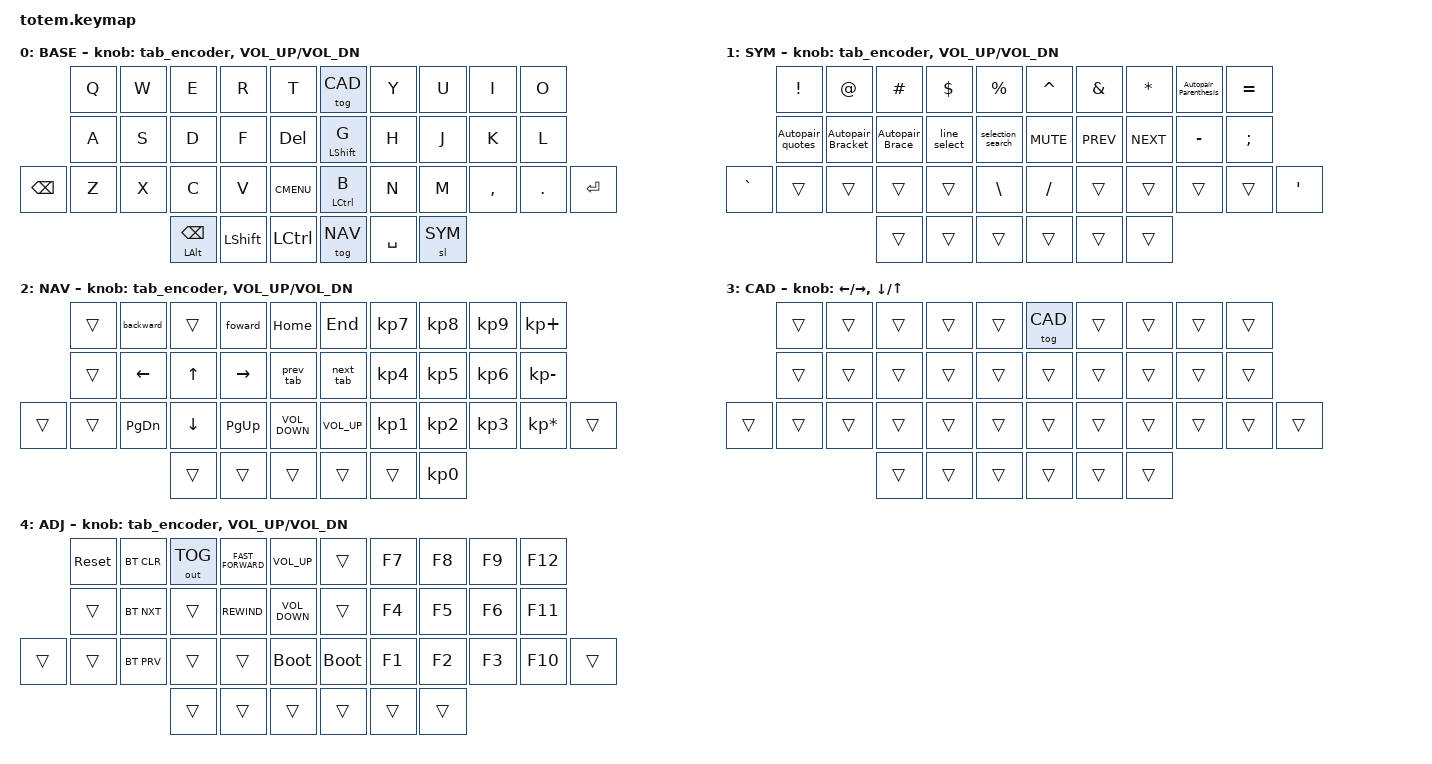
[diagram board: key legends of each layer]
//
//                                                        ▀▀▀▀▀     ▀▀▀▀▀          ▀▀█▀▀
//                                                        ▄▀▀▀▄  ▄  ▄▀▀▀▄  ▄  ▄▀▀▀▄  █  ▄▀▀▀▄
//                                                        █   █  █  █   █  █  █   █  █  █   █
//                                                         ▀▀▀   █   ▀▀▀   █   ▀▀▀   ▀   ▀▀▀
//                                                               █      ▄▄▄█▄▄▄    █   █  
//                                                               ▀      █  █  █     █▄█
//                                                             ▀▀▀▀▀    █  █  █      ▀
//                                                                      ▀  ▀  ▀
//
// ▄▄▄▄▄▄▄▄▄▄▄▄▄▄▄▄▄▄▄▄▄▄▄▄▄▄▄▄▄▄▄▄▄▄▄▄▄▄▄▄▄▄▄▄▄▄▄▄▄▄▄▄▄▄▄▄▄▄▄▄▄▄▄▄▄▄▄▄▄▄▄▄▄▄▄▄▄▄▄▄▄▄▄▄▄▄▄▄▄▄▄▄▄▄▄▄▄▄▄▄▄▄▄▄▄▄▄▄▄▄▄▄▄▄▄▄▄▄▄▄▄▄▄▄▄▄▄▄▄▄▄▄▄▄▄▄▄▄▄▄▄▄▄▄▄▄▄▄▄

#include <behaviors.dtsi>
#include <dt-bindings/zmk/bt.h>
#include <dt-bindings/zmk/keys.h>
#include <dt-bindings/zmk/outputs.h>

#define BASE 0
#define SYM  1
#define NAV  2
#define CAD  3
#define ADJ  4

&mt {
    quick-tap-ms = <100>;
    global-quick-tap;
    flavor = "tap-preferred";
    tapping-term-ms = <170>;
};

/ {
    combos {
        compatible = "zmk,combos";

        combo_esc {
            timeout-ms = <50>;
            key-positions = <0 1>;
            bindings = <&kp ESC>;
        };

        combo_Rgui {
            bindings = <&kp LEFT_GUI>;
            key-positions = <9 8>;
            timeout-ms = <50>;
        };

        combo_Larrow {
            bindings = <&kp LEFT_ARROW>;
            key-positions = <16 15>;
            timeout-ms = <50>;
        };

        combo_Rarrow {
            bindings = <&kp RIGHT_ARROW>;
            key-positions = <16 17>;
            timeout-ms = <50>;
        };

        combo_Tab {
            bindings = <&kp TAB>;
            key-positions = <10 21>;
            timeout-ms = <50>;
        };

        combo_Uparrow {
            bindings = <&kp UP_ARROW>;
            key-positions = <6 7>;
            timeout-ms = <50>;
        };

        combo_p {
            bindings = <&kp P>;
            key-positions = <30 19>;
            timeout-ms = <50>;
        };

        como_Downarrow {
            bindings = <&kp DOWN_ARROW>;
            key-positions = <27 28>;
            timeout-ms = <50>;
        };

        combo_Shyr1 {
            bindings = <&tog ADJ>;
            key-positions = <4 5>;
            timeout-ms = <50>;
        };

        combo_playpause {
            bindings = <&kp C_PLAY_PAUSE>;
            key-positions = <37 27>;
            timeout-ms = <50>;
        };

        combo_prtscrn {
            bindings = <&kp PRINTSCREEN>;
            key-positions = <37 5>;
            timeout-ms = <50>;
        };

        combo_winprtscrn {
            bindings = <&kp LG(PRINTSCREEN)>;
            key-positions = <37 5 6>;
            timeout-ms = <50>;
        };

        combo_questionmark {
            bindings = <&kp QUESTION>;
            key-positions = <33 19 30>;
        };

        combo_Lgui {
            bindings = <&sk LEFT_WIN>;
            key-positions = <20 10>;
            timeout-ms = <50>;
        };
    };

    macros {
        Autopair_quotes: Autopair_Quotes {
            compatible = "zmk,behavior-macro";
            #binding-cells = <0>;
            bindings = <&macro_tap>, <&kp DQT &kp DQT &kp LEFT_ARROW>;

            label = "AUTOPAIR_QUOTES";
        };

        selection_search: selection_search {
            compatible = "zmk,behavior-macro";
            #binding-cells = <0>;
            bindings =
                <&macro_tap>,
                <&kp LS(F10)>,
                <&macro_wait_time 20>,
                <&kp S>;

            label = "SELECTION_SEARCH";
        };

        line_select: line_select {
            compatible = "zmk,behavior-macro";
            #binding-cells = <0>;
            bindings = <&macro_tap>, <&kp HOME &kp LS(END)>;

            label = "LINE_SELECT";
        };

        Autopair_Bracket: Autopair_Brackets {
            compatible = "zmk,behavior-macro";
            #binding-cells = <0>;
            bindings =
                <&macro_tap>,
                <&kp LEFT_BRACKET &kp RIGHT_BRACKET &kp LEFT_ARROW>;

            label = "AUTOPAIR_BRACKETS";
        };

        Autopair_Brace: Auotpair_Brace {
            compatible = "zmk,behavior-macro";
            #binding-cells = <0>;
            bindings =
                <&macro_tap>,
                <&kp LEFT_BRACE &kp RIGHT_BRACE &kp LEFT_ARROW>;

            label = "AUOTPAIR_BRACE";
        };

        Autopair_Parenthesis: Autopair_Parenthesis {
            compatible = "zmk,behavior-macro";
            #binding-cells = <0>;
            bindings =
                <&macro_tap>,
                <&kp LEFT_PARENTHESIS &kp RIGHT_PARENTHESIS &kp LEFT_ARROW>;

            label = "AUTOPAIR_PARENTHESIS";
        };

        foward: new_macro {
            compatible = "zmk,behavior-macro";
            #binding-cells = <0>;
            bindings = <&macro_tap>, <&kp LA(RIGHT_ARROW)>;

            label = "NEW_MACRO";
        };

        backward: backward {
            compatible = "zmk,behavior-macro";
            #binding-cells = <0>;
            bindings = <&macro_tap>, <&kp LA(LEFT_ARROW)>;

            label = "BACKWARD";
        };

        next_tab: next_tab {
            compatible = "zmk,behavior-macro";
            #binding-cells = <0>;
            bindings = <&macro_tap>, <&kp LC(TAB)>;

            label = "NEXT_TAB";
        };

        prev_tab: prev_tab {
            compatible = "zmk,behavior-macro";
            #binding-cells = <0>;
            bindings = <&macro_tap>, <&kp LC(LS(TAB))>;

            label = "PREV_TAB";
        };

        new_tab: new_tab {
            compatible = "zmk,behavior-macro";
            #binding-cells = <0>;
            bindings = <&macro_tap>, <&kp LC(T)>;

            label = "NEW_TAB";
        };

        close_tab: close_tab {
            compatible = "zmk,behavior-macro";
            #binding-cells = <0>;
            bindings = <&macro_tap>, <&kp LC(W)>;

            label = "CLOSE_TAB";
        };

        reopen_tab: reopen_tab {
            compatible = "zmk,behavior-macro";
            #binding-cells = <0>;
            bindings = <&macro_tap>, <&kp LC(LS(T))>;

            label = "REOPEN_TAB";
        };
    };

    behaviors {
        tab_encoder: tab_encoder {
            compatible = "zmk,behavior-sensor-rotate";
            #sensor-binding-cells = <0>;

            /* The left EC11's tested electrical direction is reversed. */
            bindings = <&prev_tab>, <&next_tab>;
        };
    };

    keymap {
        compatible = "zmk,keymap";

        // ▄▄▄▄▄▄▄▄▄▄▄▄▄▄▄▄▄▄▄▄▄▄▄▄▄▄▄▄▄▄▄▄▄▄▄▄▄▄▄▄▄▄▄▄▄▄▄▄▄▄▄▄▄▄▄▄▄▄▄▄▄▄▄▄▄▄▄▄▄▄▄▄▄▄▄▄▄▄▄▄▄▄▄▄▄▄▄▄▄▄▄▄▄▄▄▄▄▄▄▄▄▄▄▄▄▄▄▄▄▄▄▄▄▄▄▄▄▄▄▄▄▄▄▄▄▄▄▄▄▄▄▄▄▄▄▄▄▄▄▄▄▄▄▄▄▄▄▄▄

        base_layer {
            // ┏━━━━━━━━━━━━━━━━━━━━━━━━━━━━━━━━━━━━━━━┓

            label = "BASE";

            // ┗━━━━━━━━━━━━━━━━━━━━━━━━━━━━━━━━━━━━━━━┛
            //             ┏━━━━━━━━━━━┳━━━━━━━━━━━┳━━━━━━━━━━━┳━━━━━━━━━━━┳━━━━━━━━━━━┓   ┏━━━━━━━━━━━┳━━━━━━━━━━━┳━━━━━━━━━━━┳━━━━━━━━━━━┳━━━━━━━━━━━┓
            //             ┃     Q     ┃     W     ┃     F     ┃     P     ┃     G     ┃   ┃     J     ┃     L     ┃     U     ┃     Y     ┃     ;     ┃
            //             ┣━━━━━━━━━━━╋━━━━━━━━━━━╋━━━━━━━━━━━╋━━━━━━━━━━━╋━━━━━━━━━━━┫   ┣━━━━━━━━━━━╋━━━━━━━━━━━╋━━━━━━━━━━━╋━━━━━━━━━━━╋━━━━━━━━━━━┫
            //             ┃     A     ┃     R     ┃     S     ┃     T     ┃     D     ┃   ┃     H     ┃     N     ┃     E     ┃     I     ┃     O     ┃
            // ┏━━━━━━━━━━━╋━━━━━━━━━━━╋━━━━━━━━━━━╋━━━━━━━━━━━╋━━━━━━━━━━━╋━━━━━━━━━━━┫   ┣━━━━━━━━━━━╋━━━━━━━━━━━╋━━━━━━━━━━━╋━━━━━━━━━━━╋━━━━━━━━━━━╋━━━━━━━━━━━┓
            // ┃     Q     ┃     Z     ┃     X     ┃     C     ┃     V     ┃     B     ┃   ┃     K     ┃     M     ┃     ,     ┃     .     ┃     /     ┃     \     ┃
            // ┗━━━━━━━━━━━┻━━━━━━━━━━━┻━━━━━━━━━━━╋━━━━━━━━━━━╋━━━━━━━━━━━╋━━━━━━━━━━━┫   ┣━━━━━━━━━━━╋━━━━━━━━━━━╋━━━━━━━━━━━╋━━━━━━━━━━━┻━━━━━━━━━━━┻━━━━━━━━━━━┛
            //                                     ┃    DEL    ┃    TAB    ┃    SPC    ┃   ┃   ENTER   ┃           ┃   BSPC    ┃
            //                                     ┗━━━━━━━━━━━┻━━━━━━━━━━━┻━━━━━━━━━━━┛   ┗━━━━━━━━━━━┻━━━━━━━━━━━┻━━━━━━━━━━━┛

            bindings = <
               &kp Q  &kp W  &kp E                   &kp R           &kp T          &tog CAD          &kp Y      &kp U  &kp I      &kp O
               &kp A  &kp S  &kp D                   &kp F           &kp DELETE     &mt LEFT_SHIFT G  &kp H      &kp J  &kp K      &kp L
&kp BACKSPACE  &kp Z  &kp X  &kp C                   &kp V           &kp K_CMENU    &mt LCTRL B       &kp N      &kp M  &kp COMMA  &kp DOT  &kp ENTER
                             &mt LEFT_ALT BACKSPACE  &kp LEFT_SHIFT  &kp LCTRL      &tog NAV          &kp SPACE  &sl SYM
            >;

            sensor-bindings = <&tab_encoder &inc_dec_kp C_VOL_UP C_VOL_DN>;
        };

        Sym+Macros {
            // ┏━━━━━━━━━━━━━━━━━━━━━━━━━━━━━━━━━━━━━━━┓

            label = "SYM";

            // ┗━━━━━━━━━━━━━━━━━━━━━━━━━━━━━━━━━━━━━━━┛
            //             ┏━━━━━━━━━━━┳━━━━━━━━━━━┳━━━━━━━━━━━┳━━━━━━━━━━━┳━━━━━━━━━━━┓   ┏━━━━━━━━━━━┳━━━━━━━━━━━┳━━━━━━━━━━━┳━━━━━━━━━━━┳━━━━━━━━━━━┓
            //             ┃     !     ┃     @     ┃     #     ┃     $     ┃     %     ┃   ┃     ˆ     ┃     &     ┃     Ü     ┃     '     ┃     "     ┃
            //             ┣━━━━━━━━━━━╋━━━━━━━━━━━╋━━━━━━━━━━━╋━━━━━━━━━━━╋━━━━━━━━━━━┫   ┣━━━━━━━━━━━╋━━━━━━━━━━━╋━━━━━━━━━━━╋━━━━━━━━━━━╋━━━━━━━━━━━┫
            //             ┃     Ä     ┃           ┃    SZ     ┃           ┃           ┃   ┃   MUTE    ┃   YEN     ┃   EURO    ┃  POUND    ┃     Ö     ┃
            // ┏━━━━━━━━━━━╋━━━━━━━━━━━╋━━━━━━━━━━━╋━━━━━━━━━━━╋━━━━━━━━━━━╋━━━━━━━━━━━┫   ┣━━━━━━━━━━━╋━━━━━━━━━━━╋━━━━━━━━━━━╋━━━━━━━━━━━╋━━━━━━━━━━━╋━━━━━━━━━━━┓
            // ┃           ┃  EMAIL1   ┃  EMAIL2   ┃           ┃           ┃           ┃   ┃   VOL-    ┃   VOL+    ┃   LAST    ┃   NEXT    ┃     \     ┃           ┃
            // ┗━━━━━━━━━━━┻━━━━━━━━━━━┻━━━━━━━━━━━╋━━━━━━━━━━━╋━━━━━━━━━━━╋━━━━━━━━━━━┫   ┣━━━━━━━━━━━╋━━━━━━━━━━━╋━━━━━━━━━━━╋━━━━━━━━━━━┻━━━━━━━━━━━┻━━━━━━━━━━━┛
            //                                     ┃           ┃    GIF    ┃    ADJ    ┃   ┃           ┃           ┃           ┃
            //                                     ┗━━━━━━━━━━━┻━━━━━━━━━━━┻━━━━━━━━━━━┛   ┗━━━━━━━━━━━┻━━━━━━━━━━━┻━━━━━━━━━━━┛

            bindings = <
           &kp EXCL          &kp AT             &kp HASH         &kp DLLR      &kp PRCNT            &kp CARET   &kp AMPS    &kp ASTERISK  &Autopair_Parenthesis  &kp EQUAL
           &Autopair_quotes  &Autopair_Bracket  &Autopair_Brace  &line_select  &selection_search    &kp C_MUTE  &kp C_PREV  &kp C_NEXT    &kp MINUS              &kp SEMICOLON
&kp GRAVE  &trans            &trans             &trans           &trans        &kp BACKSLASH        &kp SLASH   &trans      &trans        &trans                 &trans         &kp SQT
                                                &trans           &trans        &trans               &trans      &trans      &trans
            >;

            sensor-bindings = <&tab_encoder &inc_dec_kp C_VOL_UP C_VOL_DN>;
        };

        Nav_Num {
            // ┏━━━━━━━━━━━━━━━━━━━━━━━━━━━━━━━━━━━━━━━┓

            label = "NAV";

            // ┗━━━━━━━━━━━━━━━━━━━━━━━━━━━━━━━━━━━━━━━┛
            //             ┏━━━━━━━━━━━┳━━━━━━━━━━━┳━━━━━━━━━━━┳━━━━━━━━━━━┳━━━━━━━━━━━┓   ┏━━━━━━━━━━━┳━━━━━━━━━━━┳━━━━━━━━━━━┳━━━━━━━━━━━┳━━━━━━━━━━━┓
            //             ┃           ┃           ┃     UP    ┃           ┃     {     ┃   ┃     }     ┃     7     ┃     8     ┃     9     ┃     +     ┃
            //             ┣━━━━━━━━━━━╋━━━━━━━━━━━╋━━━━━━━━━━━╋━━━━━━━━━━━╋━━━━━━━━━━━┫   ┣━━━━━━━━━━━╋━━━━━━━━━━━╋━━━━━━━━━━━╋━━━━━━━━━━━╋━━━━━━━━━━━┫
            //             ┃   SHIFT   ┃   LEFT    ┃    DOWN   ┃   RIGHT   ┃     [     ┃   ┃     ]     ┃     4     ┃     5     ┃     6     ┃     -     ┃
            // ┏━━━━━━━━━━━╋━━━━━━━━━━━╋━━━━━━━━━━━╋━━━━━━━━━━━╋━━━━━━━━━━━╋━━━━━━━━━━━┫   ┣━━━━━━━━━━━╋━━━━━━━━━━━╋━━━━━━━━━━━╋━━━━━━━━━━━╋━━━━━━━━━━━╋━━━━━━━━━━━┓
            // ┃           ┃           ┃   P UP    ┃  C LOCK   ┃  P DOWN   ┃     (     ┃   ┃     )     ┃     1     ┃     2     ┃     3     ┃     *     ┃           ┃
            // ┗━━━━━━━━━━━┻━━━━━━━━━━━┻━━━━━━━━━━━╋━━━━━━━━━━━╋━━━━━━━━━━━╋━━━━━━━━━━━┫   ┣━━━━━━━━━━━╋━━━━━━━━━━━╋━━━━━━━━━━━╋━━━━━━━━━━━┻━━━━━━━━━━━┻━━━━━━━━━━━┛
            //                                     ┃           ┃    TAB    ┃    SPC    ┃   ┃    DEL    ┃     0     ┃           ┃
            //                                     ┗━━━━━━━━━━━┻━━━━━━━━━━━┻━━━━━━━━━━━┛   ┗━━━━━━━━━━━┻━━━━━━━━━━━┻━━━━━━━━━━━┛

            bindings = <
        &trans  &backward      &trans        &foward      &kp HOME             &kp END       &kp KP_N7  &kp KP_N8        &kp KP_N9  &kp KP_PLUS
        &trans  &kp LEFT       &kp UP_ARROW  &kp RIGHT    &prev_tab            &next_tab     &kp KP_N4  &kp KP_N5        &kp KP_N6  &kp KP_MINUS
&trans  &trans  &kp PAGE_DOWN  &kp DOWN      &kp PAGE_UP  &kp C_VOLUME_DOWN    &kp C_VOL_UP  &kp KP_N1  &kp KP_N2        &kp KP_N3  &kp KP_MULTIPLY  &trans
                               &trans        &trans       &trans               &trans        &trans     &kp KP_NUMBER_0
            >;

            sensor-bindings = <&tab_encoder &inc_dec_kp C_VOL_UP C_VOL_DN>;
        };

        cad_layer {
            label = "CAD";

            bindings = <
           &trans  &trans  &trans  &trans  &trans  &tog CAD    &trans  &trans  &trans  &trans
           &trans  &trans  &trans  &trans  &trans  &trans      &trans  &trans  &trans  &trans
&trans     &trans  &trans  &trans  &trans  &trans  &trans      &trans  &trans  &trans  &trans  &trans
                                    &trans  &trans  &trans      &trans  &trans  &trans
            >;

            /* Left: CCW/CW = left/right. Right: CCW/CW = up/down. */
            sensor-bindings = <&inc_dec_kp LEFT_ARROW RIGHT_ARROW &inc_dec_kp DOWN_ARROW UP_ARROW>;
        };

        adjust_layer {
            // ┏━━━━━━━━━━━━━━━━━━━━━━━━━━━━━━━━━━━━━━━┓

            label = "ADJ";

            // ┗━━━━━━━━━━━━━━━━━━━━━━━━━━━━━━━━━━━━━━━┛
            //             ┏━━━━━━━━━━━┳━━━━━━━━━━━┳━━━━━━━━━━━┳━━━━━━━━━━━┳━━━━━━━━━━━┓   ┏━━━━━━━━━━━┳━━━━━━━━━━━┳━━━━━━━━━━━┳━━━━━━━━━━━┳━━━━━━━━━━━┓
            //             ┃   RESET   ┃ BT CLEAR  ┃  OUT TOG  ┃           ┃           ┃   ┃           ┃    F7     ┃    F8     ┃    F9     ┃    F12    ┃
            //             ┣━━━━━━━━━━━╋━━━━━━━━━━━╋━━━━━━━━━━━╋━━━━━━━━━━━╋━━━━━━━━━━━┫   ┣━━━━━━━━━━━╋━━━━━━━━━━━╋━━━━━━━━━━━╋━━━━━━━━━━━╋━━━━━━━━━━━┫
            //             ┃ BOOTLOAD  ┃ BT NEXT   ┃           ┃           ┃           ┃   ┃           ┃    F4     ┃    F5     ┃    F6     ┃    F11    ┃
            // ┏━━━━━━━━━━━╋━━━━━━━━━━━╋━━━━━━━━━━━╋━━━━━━━━━━━╋━━━━━━━━━━━╋━━━━━━━━━━━┫   ┣━━━━━━━━━━━╋━━━━━━━━━━━╋━━━━━━━━━━━╋━━━━━━━━━━━╋━━━━━━━━━━━╋━━━━━━━━━━━┓
            // ┃           ┃           ┃ BT PREV   ┃           ┃           ┃           ┃   ┃           ┃    F1     ┃    F2     ┃    F3     ┃    F10    ┃           ┃
            // ┗━━━━━━━━━━━┻━━━━━━━━━━━┻━━━━━━━━━━━╋━━━━━━━━━━━╋━━━━━━━━━━━╋━━━━━━━━━━━┫   ┣━━━━━━━━━━━╋━━━━━━━━━━━╋━━━━━━━━━━━╋━━━━━━━━━━━┻━━━━━━━━━━━┻━━━━━━━━━━━┛
            //                                     ┃           ┃           ┃           ┃   ┃           ┃           ┃           ┃
            //                                     ┗━━━━━━━━━━━┻━━━━━━━━━━━┻━━━━━━━━━━━┛   ┗━━━━━━━━━━━┻━━━━━━━━━━━┻━━━━━━━━━━━┛

            bindings = <
        &sys_reset  &bt BT_CLR  &out OUT_TOG  &kp C_FAST_FORWARD  &kp C_VOLUME_UP      &trans       &kp F7  &kp F8  &kp F9  &kp F12
        &trans      &bt BT_NXT  &trans        &kp C_REWIND        &kp C_VOLUME_DOWN    &trans       &kp F4  &kp F5  &kp F6  &kp F11
&trans  &trans      &bt BT_PRV  &trans        &trans              &bootloader          &bootloader  &kp F1  &kp F2  &kp F3  &kp F10  &trans
                                &trans        &trans              &trans               &trans       &trans  &trans
            >;

            sensor-bindings = <&tab_encoder &inc_dec_kp C_VOL_UP C_VOL_DN>;
        };

        // ▄▄▄▄▄▄▄▄▄▄▄▄▄▄▄▄▄▄▄▄▄▄▄▄▄▄▄▄▄▄▄▄▄▄▄▄▄▄▄▄▄▄▄▄▄▄▄▄▄▄▄▄▄▄▄▄▄▄▄▄▄▄▄▄▄▄▄▄▄▄▄▄▄▄▄▄▄▄▄▄▄▄▄▄▄▄▄▄▄▄▄▄▄▄▄▄▄▄▄▄▄▄▄▄▄▄▄▄▄▄▄▄▄▄▄▄▄▄▄▄▄▄▄▄▄▄▄▄▄▄▄▄▄▄▄▄▄▄▄▄▄▄▄▄▄▄▄▄▄
        // ▄▄▄▄▄▄▄▄▄▄▄▄▄▄▄▄▄▄▄▄▄▄▄▄▄▄▄▄▄▄▄▄▄▄▄▄▄▄▄▄▄▄▄▄▄▄▄▄▄▄▄▄▄▄▄▄▄▄▄▄▄▄▄▄▄▄▄▄▄▄▄▄▄▄▄▄▄▄▄▄▄▄▄▄▄▄▄▄▄▄▄▄▄▄▄▄▄▄▄▄▄▄▄▄▄▄▄▄▄▄▄▄▄▄▄▄▄▄▄▄▄▄▄▄▄▄▄▄▄▄▄▄▄▄▄▄▄▄▄▄▄▄▄▄▄▄▄▄▄
    };

};
